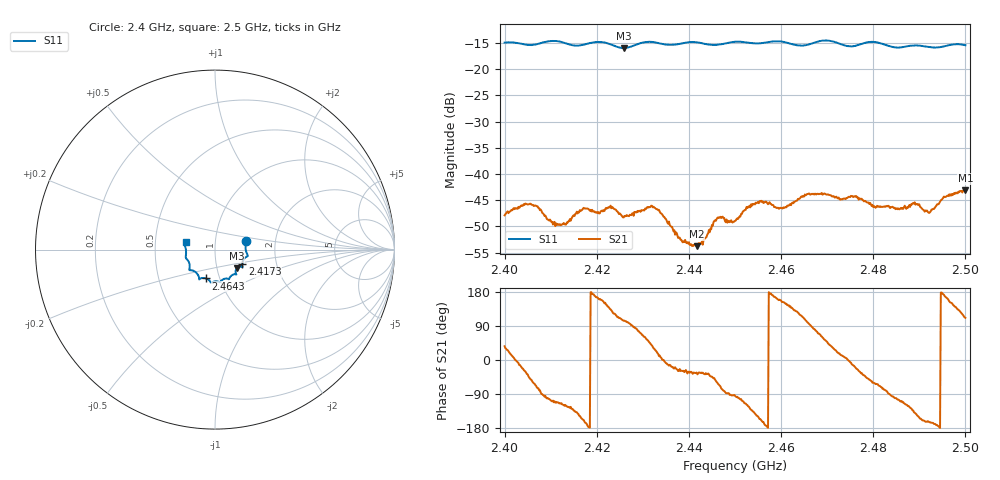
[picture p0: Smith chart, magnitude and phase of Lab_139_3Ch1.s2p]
# Hz S RI R 50
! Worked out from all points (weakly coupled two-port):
!   601 points, 2.4 GHz to 2.5 GHz, reference 50 ohm
!   highest |S21| = -43.08 dB at 2.5 GHz (marker M1); lowest = -53.8 dB at 2.4417 GHz (marker M2)
!   lowest |S11| = -15.9 dB at 2.4258 GHz (marker M3), VSWR 1.38, Z = 62.3 - j13.2 ohm
!   |S11| at or under -10 dB: start of sweep to end of sweep
!   S12 and S22 are empty: the file has one direction only
!   S11 on the Smith chart (normalised r, x): 2.4 GHz: 1.41, +0.14; 2.4173 GHz: 1.34, -0.22; 2.4643 GHz: 0.86, -0.28; 2.5 GHz: 0.72, +0.06
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2.4e9  0.1729 0.0488  0.00325 0.00239  0 0  0 0
2.405667e9  0.1703 0.00612  0.00326 -0.00407  0 0  0 0
2.412167e9  0.1792 -0.0379  -0.00138 -0.00294  0 0  0 0
2.416667e9  0.1528 -0.0743  -0.00403 -0.00198  0 0  0 0
2.417333e9  0.1518 -0.0817  -0.00448 -0.00139  0 0  0 0
2.423167e9  0.1442 -0.094  -0.00309 0.00356  0 0  0 0
2.425833e9  0.1217 -0.1032  -0.000905 0.00375  0 0  0 0
2.4315e9  0.1191 -0.1389  0.00339 0.00343  0 0  0 0
2.433333e9  0.1132 -0.1372  0.00435 0.00124  0 0  0 0
2.438167e9  0.0818 -0.1552  0.00207 -0.00115  0 0  0 0
2.441667e9  0.0755 -0.1646  0.00172 -0.00112  0 0  0 0
2.446333e9  0.0451 -0.1658  0.00176 -0.00344  0 0  0 0
2.45e9  0.029 -0.1809  -0.00027 -0.00357  0 0  0 0
2.455167e9  0.000791 -0.1769  -0.00466 -0.00246  0 0  0 0
2.46e9  -0.0244 -0.1828  -0.00437 0.00186  0 0  0 0
2.464333e9  -0.0499 -0.1606  -0.0028 0.0054  0 0  0 0
2.466667e9  -0.0757 -0.1592  0.000269 0.00647  0 0  0 0
2.483333e9  -0.1409 -0.0901  9.77e-05 -0.00498  0 0  0 0
2.489e9  -0.1628 -0.045  -0.00406 -0.00352  0 0  0 0
2.492e9  -0.1612 -0.0256  -0.00409 -0.00129  0 0  0 0
2.495667e9  -0.1661 0.0163  -0.00589 0.00138  0 0  0 0
2.5e9  -0.1642 0.0432  -0.00254 0.00654  0 0  0 0
